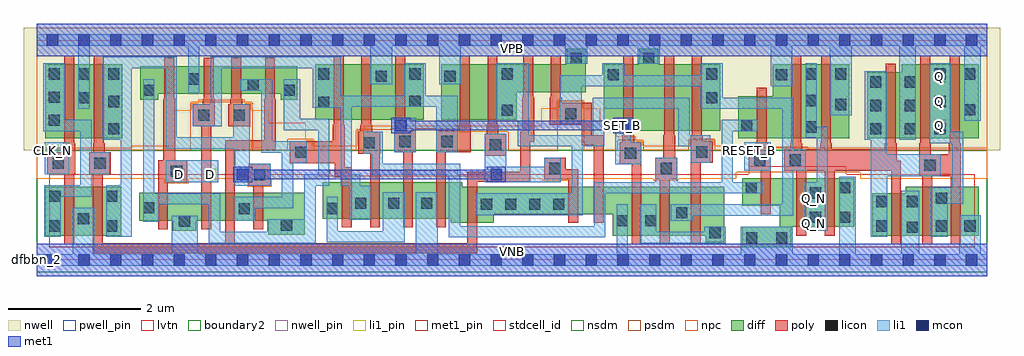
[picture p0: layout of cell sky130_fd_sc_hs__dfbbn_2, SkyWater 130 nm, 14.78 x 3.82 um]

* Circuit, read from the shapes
.subckt sky130_fd_sc_hs__dfbbn_2 CLK_N D Q Q_N RESET_B SET_B VGND VNB VPB VPWR
XM1 VGND CLK_N n1 VNB sky130_fd_pr__nfet_01v8_lvt w=0.74 l=0.15
XM2 n2 n1 VGND VNB sky130_fd_pr__nfet_01v8_lvt w=0.74 l=0.15
XM3 VGND D n3 VNB sky130_fd_pr__nfet_01v8_lvt w=0.42 l=0.15
XM4 n4 n5 VGND VNB sky130_fd_pr__nfet_01v8_lvt w=0.42 l=0.15
XM5 n6 n1 n4 VNB sky130_fd_pr__nfet_01v8_lvt w=0.42 l=0.15
XM6 n3 n2 n6 VNB sky130_fd_pr__nfet_01v8_lvt w=0.42 l=0.15
XM7 n5 n6 n7 VNB sky130_fd_pr__nfet_01v8_lvt w=0.55 l=0.15
XM8 n7 n8 n5 VNB sky130_fd_pr__nfet_01v8_lvt w=0.55 l=0.15
XM9 VGND SET_B n7 VNB sky130_fd_pr__nfet_01v8_lvt w=0.55 l=0.15
XM10 n9 n5 VGND VNB sky130_fd_pr__nfet_01v8_lvt w=0.55 l=0.15
XM11 n10 n1 n9 VNB sky130_fd_pr__nfet_01v8_lvt w=0.55 l=0.15
XM12 n11 n2 n10 VNB sky130_fd_pr__nfet_01v8_lvt w=0.42 l=0.15
XM13 VGND n12 n11 VNB sky130_fd_pr__nfet_01v8_lvt w=0.42 l=0.15
XM14 n13 SET_B VGND VNB sky130_fd_pr__nfet_01v8_lvt w=0.74 l=0.15
XM15 n12 n8 n13 VNB sky130_fd_pr__nfet_01v8_lvt w=0.74 l=0.15
XM16 n13 n10 n12 VNB sky130_fd_pr__nfet_01v8_lvt w=0.74 l=0.15
XM17 VGND RESET_B n8 VNB sky130_fd_pr__nfet_01v8_lvt w=0.42 l=0.15
XM18 Q_N n12 VGND VNB sky130_fd_pr__nfet_01v8_lvt w=0.74 l=0.15 m=2
XM19 VGND n12 n14 VNB sky130_fd_pr__nfet_01v8_lvt w=0.64 l=0.15
XM20 Q n14 VGND VNB sky130_fd_pr__nfet_01v8_lvt w=0.74 l=0.15 m=2
XM21 VPWR CLK_N n1 VPB sky130_fd_pr__pfet_01v8 w=1.12 l=0.15
XM22 n2 n1 VPWR VPB sky130_fd_pr__pfet_01v8 w=1.12 l=0.15
XM23 VPWR D n3 VPB sky130_fd_pr__pfet_01v8 w=0.42 l=0.15
XM24 n15 n5 VPWR VPB sky130_fd_pr__pfet_01v8 w=0.42 l=0.15
XM25 n6 n2 n15 VPB sky130_fd_pr__pfet_01v8 w=0.42 l=0.15
XM26 n3 n1 n6 VPB sky130_fd_pr__pfet_01v8 w=0.42 l=0.15
XM27 n16 n6 n5 VPB sky130_fd_pr__pfet_01v8 w=0.84 l=0.15
XM28 VPWR n8 n16 VPB sky130_fd_pr__pfet_01v8 w=0.84 l=0.15
XM29 n5 SET_B VPWR VPB sky130_fd_pr__pfet_01v8 w=0.84 l=0.15
XM30 n17 n5 VPWR VPB sky130_fd_pr__pfet_01v8 w=0.84 l=0.15
XM31 n10 n2 n17 VPB sky130_fd_pr__pfet_01v8 w=0.84 l=0.15
XM32 n18 n1 n10 VPB sky130_fd_pr__pfet_01v8 w=0.42 l=0.15
XM33 VPWR n12 n18 VPB sky130_fd_pr__pfet_01v8 w=0.42 l=0.15
XM34 VPWR SET_B n12 VPB sky130_fd_pr__pfet_01v8 w=1 l=0.15
XM35 n19 n8 VPWR VPB sky130_fd_pr__pfet_01v8 w=1 l=0.15
XM36 n12 n10 n19 VPB sky130_fd_pr__pfet_01v8 w=1 l=0.15
XM37 VPWR RESET_B n8 VPB sky130_fd_pr__pfet_01v8 w=0.64 l=0.15
XM38 Q_N n12 VPWR VPB sky130_fd_pr__pfet_01v8 w=1.12 l=0.15 m=2
XM39 VPWR n12 n14 VPB sky130_fd_pr__pfet_01v8 w=1 l=0.15
XM40 Q n14 VPWR VPB sky130_fd_pr__pfet_01v8 w=1.12 l=0.15 m=2
.ends

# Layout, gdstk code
import gdstk
lib = gdstk.Library(unit=1e-6, precision=1e-09)
def R(c, l, rs):  # rectangles x0, y0, x1, y1
    for r in rs: c.add(gdstk.rectangle(r[:2], r[2:], *l))
def A(c, l, x, y, w, h, nx, ny, dx, dy):  # array of equal rectangles
    R(c, l, [(x+i*dx, y+j*dy, x+i*dx+w, y+j*dy+h) for i in range(nx) for j in range(ny)])
def P(c, l, *ps):  # polygons
    for p in ps: c.add(gdstk.Polygon(p, *l))
nwell_pin = (64, 16)
nwell = (64, 20)
diff = (65, 20)
poly = (66, 20)
licon = (66, 44)
li1_pin = (67, 16)
li1 = (67, 20)
mcon = (67, 44)
met1_pin = (68, 16)
met1 = (68, 20)
stdcell_id = (81, 4)
nsdm = (93, 44)
psdm = (94, 20)
npc = (95, 20)
pwell_pin = (122, 16)
lvtn = (125, 44)
boundary2 = (236, 0)

sky130_fd_sc_hs__dfbbn_2 = lib.new_cell('sky130_fd_sc_hs__dfbbn_2')
R(sky130_fd_sc_hs__dfbbn_2, nwell_pin, [(0,3.085,14.4,3.33)])
R(sky130_fd_sc_hs__dfbbn_2, nwell, [(-0.19,1.66,14.59,3.52)])
R(sky130_fd_sc_hs__dfbbn_2, diff, [(0.135,0.37,1.285,1.11), (0.135,1.84,1.3,2.96), (4.22,2.12,5.86,2.96)])
P(sky130_fd_sc_hs__dfbbn_2, diff, [(3.95,2.935),(1.57,2.935),(1.57,2.425),(1.845,2.425),(1.845,2.515),(3.7,2.515),(3.7,2.425),(3.95,2.425)],
  [(4.065,1.015),(1.555,1.015),(1.555,0.595),(2.065,0.595),(2.065,0.44),(2.42,0.44),(2.42,0.595),(3.51,0.595),(3.51,0.385),(4.065,0.385)],
  [(8.32,3.195),(8.03,3.195),(8.03,2.96),(6.13,2.96),(6.13,2.12),(7.275,2.12),(7.275,2.54),(8.32,2.54)],
  [(10.355,2.96),(9.415,2.96),(9.415,3.195),(9.125,3.195),(9.125,2.96),(8.59,2.96),(8.59,1.96),(10.355,1.96)],
  [(10.415,1.11),(6.45,1.11),(6.45,1.175),(4.335,1.175),(4.335,0.625),(6.275,0.625),(6.275,0.56),(6.925,0.56),(6.925,0.69),(8.725,0.69),(8.725,0.37),(10.135,0.37),(10.135,0.27),(10.415,0.27)],
  [(12.31,2.96),(11.145,2.96),(11.145,2.48),(10.625,2.48),(10.625,1.84),(12.31,1.84)],
  [(12.385,1.24),(10.685,1.24),(10.685,0.82),(11.255,0.82),(11.255,0.5),(10.685,0.5),(10.685,0.19),(11.43,0.19),(11.43,0.5),(12.385,0.5)],
  [(14.265,2.96),(13.1,2.96),(13.1,2.84),(12.58,2.84),(12.58,1.84),(14.265,1.84)],
  [(14.265,1.11),(13.165,1.11),(13.165,1.01),(12.655,1.01),(12.655,0.37),(14.265,0.37)])
P(sky130_fd_sc_hs__dfbbn_2, poly, [(13.995,1.765),(13.98,1.765),(13.98,3.09),(13.83,3.09),(13.83,1.765),(13.815,1.765),(13.815,1.6),(13.545,1.6),(13.545,1.765),(13.53,1.765),(13.53,3.09),(13.38,3.09),(13.38,1.765),(13.365,1.765),(13.365,1.27),(13.415,1.27),(13.415,0.24),(13.565,0.24),(13.565,1.27),(13.845,1.27),(13.845,0.24),(13.995,0.24)],
  [(13.09,1.5),(13.025,1.5),(13.025,1.765),(13.01,1.765),(13.01,2.97),(12.86,2.97),(12.86,1.765),(12.845,1.765),(12.845,1.68),(12.045,1.68),(12.045,1.765),(12.03,1.765),(12.03,3.09),(11.88,3.09),(11.88,1.765),(11.865,1.765),(11.865,1.68),(11.595,1.68),(11.595,1.765),(11.58,1.765),(11.58,3.09),(11.43,3.09),(11.43,1.765),(11.415,1.765),(11.415,1.68),(11.325,1.68),(11.325,1.35),(11.505,1.35),(11.505,0.37),(11.655,0.37),(11.655,1.35),(11.935,1.35),(11.935,0.37),(12.085,0.37),(12.085,1.35),(12.94,1.35),(12.94,0.24),(13.09,0.24)],
  [(11.115,1.68),(11.07,1.68),(11.07,1.765),(11.055,1.765),(11.055,2.61),(10.905,2.61),(10.905,1.765),(10.89,1.765),(10.89,1.68),(10.785,1.68),(10.785,1.35),(10.965,1.35),(10.965,0.69),(11.115,0.69)],
  [(10.24,1.8),(10.09,1.8),(10.09,1.885),(10.075,1.885),(10.075,3.09),(9.925,3.09),(9.925,1.885),(9.91,1.885),(9.91,0.24),(10.06,0.24),(10.06,1.47),(10.24,1.47)],
  [(9.7,1.55),(9.67,1.55),(9.67,1.885),(9.655,1.885),(9.655,3.09),(9.505,3.09),(9.505,1.885),(9.49,1.885),(9.49,1.55),(9.37,1.55),(9.37,1.22),(9.44,1.22),(9.44,0.24),(9.59,0.24),(9.59,1.22),(9.7,1.22)],
  [(9.16,1.78),(9.05,1.78),(9.05,1.885),(9.035,1.885),(9.035,3.09),(8.885,3.09),(8.885,1.885),(8.87,1.885),(8.87,1.78),(8.83,1.78),(8.83,1.45),(9.01,1.45),(9.01,0.24),(9.16,0.24)],
  [(8.59,1.885),(8.405,1.885),(8.405,2.38),(7.955,2.38),(7.955,2.465),(7.94,2.465),(7.94,3.09),(7.79,3.09),(7.79,2.465),(7.775,2.465),(7.775,2.05),(8.255,2.05),(8.255,1.735),(8.44,1.735),(8.44,0.56),(8.59,0.56)],
  [(8.2,1.37),(8.015,1.37),(8.015,1.55),(7.685,1.55),(7.685,1.22),(8.05,1.22),(8.05,0.56),(8.2,0.56)],
  [(7.535,2.465),(7.52,2.465),(7.52,3.09),(7.37,3.09),(7.37,2.465),(7.355,2.465),(7.355,1.94),(7.325,1.94),(7.325,1.335),(6.525,1.335),(6.525,0.255),(3.005,0.255),(3.005,1.665),(3.625,1.665),(3.625,2.44),(3.61,2.44),(3.61,3.065),(3.46,3.065),(3.46,2.44),(3.445,2.44),(3.445,1.815),(2.855,1.815),(2.855,0.255),(1,0.255),(1,1.3),(1.125,1.3),(1.125,1.63),(1.035,1.63),(1.035,1.765),(1.02,1.765),(1.02,3.09),(0.87,3.09),(0.87,1.765),(0.855,1.765),(0.855,1.63),(0.795,1.63),(0.795,1.3),(0.85,1.3),(0.85,0.105),(6.675,0.105),(6.675,1.185),(7.475,1.185),(7.475,1.79),(7.535,1.79)],
  [(7.115,1.91),(6.995,1.91),(6.995,2.045),(6.98,2.045),(6.98,3.09),(6.83,3.09),(6.83,2.045),(6.815,2.045),(6.815,1.91),(6.785,1.91),(6.785,1.58),(7.115,1.58)],
  [(6.575,2.045),(6.56,2.045),(6.56,3.09),(6.41,3.09),(6.41,2.045),(6.395,2.045),(6.395,1.96),(6.05,1.96),(6.05,0.495),(6.2,0.495),(6.2,1.63),(6.575,1.63)],
  [(5.745,1.96),(5.595,1.96),(5.595,2.045),(5.58,2.045),(5.58,3.09),(5.43,3.09),(5.43,2.045),(5.415,2.045),(5.415,1.63),(5.55,1.63),(5.55,0.495),(5.7,0.495),(5.7,1.63),(5.745,1.63)],
  [(5.205,1.94),(5.085,1.94),(5.085,2.045),(5.07,2.045),(5.07,3.09),(4.92,3.09),(4.92,2.045),(4.905,2.045),(4.905,1.94),(4.875,1.94),(4.875,1.61),(5.05,1.61),(5.05,0.495),(5.2,0.495),(5.2,1.61),(5.205,1.61)],
  [(4.77,1.4),(4.665,1.4),(4.665,2.045),(4.65,2.045),(4.65,3.09),(4.5,3.09),(4.5,2.045),(4.485,2.045),(4.485,1.795),(3.835,1.795),(3.835,1.465),(4.515,1.465),(4.515,1.25),(4.62,1.25),(4.62,0.495),(4.77,0.495)],
  [(3.545,1.455),(3.215,1.455),(3.215,1.125),(3.285,1.125),(3.285,0.465),(3.435,0.465),(3.435,1.125),(3.545,1.125)],
  [(3.235,2.355),(3.115,2.355),(3.115,2.44),(3.1,2.44),(3.1,3.065),(2.95,3.065),(2.95,2.44),(2.935,2.44),(2.935,2.355),(2.905,2.355),(2.905,2.025),(3.235,2.025)],
  [(2.695,2.44),(2.68,2.44),(2.68,3.065),(2.53,3.065),(2.53,2.44),(2.515,2.44),(2.515,2.355),(2.365,2.355),(2.365,2.025),(2.495,2.025),(2.495,0.465),(2.645,0.465),(2.645,2.025),(2.695,2.025)],
  [(2.285,1.51),(2.1,1.51),(2.1,2.44),(2.085,2.44),(2.085,3.065),(1.935,3.065),(1.935,2.44),(1.92,2.44),(1.92,1.51),(1.84,1.51),(1.84,0.465),(1.99,0.465),(1.99,1.18),(2.285,1.18)],
  [(0.585,1.765),(0.57,1.765),(0.57,3.09),(0.42,3.09),(0.42,1.765),(0.405,1.765),(0.405,1.63),(0.165,1.63),(0.165,1.3),(0.42,1.3),(0.42,0.24),(0.57,0.24),(0.57,1.3),(0.585,1.3)])
A(sky130_fd_sc_hs__dfbbn_2, licon, 6.73, 0.76, 0.17, 0.17, 4, 1, 0.365, 0)
A(sky130_fd_sc_hs__dfbbn_2, licon, 4.825, 0.775, 0.17, 0.17, 3, 1, 0.5, 0)
A(sky130_fd_sc_hs__dfbbn_2, licon, 12.625, 1.9, 0.17, 0.17, 1, 3, 0, 0.355)
A(sky130_fd_sc_hs__dfbbn_2, licon, 13.145, 1.9, 0.17, 0.17, 1, 3, 0, 0.355)
A(sky130_fd_sc_hs__dfbbn_2, licon, 13.595, 1.9, 0.17, 0.17, 1, 3, 0, 0.415)
A(sky130_fd_sc_hs__dfbbn_2, licon, 11.645, 1.93, 0.17, 0.17, 1, 3, 0, 0.4)
A(sky130_fd_sc_hs__dfbbn_2, licon, 0.185, 2.73, 0.17, 0.17, 3, 1, 0.45, 0)
R(sky130_fd_sc_hs__dfbbn_2, licon, [(10.745,0.25,10.915,0.42), (11.2,0.25,11.37,0.42), (10.19,0.33,10.36,0.5), (13.175,0.41,13.345,0.58), (0.195,0.43,0.365,0.6), (1.055,0.43,1.225,0.6), (12.715,0.43,12.885,0.6), (13.62,0.43,13.79,0.6), (14.05,0.43,14.22,0.6), (3.7,0.445,3.87,0.615), (2.155,0.5,2.325,0.67), (8.785,0.51,8.955,0.68), (9.215,0.51,9.385,0.68), (0.625,0.54,0.795,0.71), (11.71,0.56,11.88,0.73), (12.155,0.56,12.325,0.73), (9.685,0.63,9.855,0.8), (3.06,0.69,3.23,0.86), (4.395,0.695,4.565,0.865), (1.615,0.705,1.785,0.875), (12.715,0.8,12.885,0.97), (13.175,0.8,13.345,0.97), (13.62,0.85,13.79,1.02), (0.195,0.88,0.365,1.05), (1.055,0.88,1.225,1.05), (11.71,0.93,11.88,1.1), (10.74,1.01,10.91,1.18), (12.155,1.01,12.325,1.18), (3.295,1.205,3.465,1.375), (2.035,1.26,2.205,1.43), (7.765,1.3,7.935,1.47), (9.45,1.3,9.62,1.47), (13.445,1.35,13.615,1.52), (0.245,1.38,0.415,1.55), (0.875,1.38,1.045,1.55), (10.865,1.43,11.035,1.6), (11.405,1.43,11.575,1.6), (8.91,1.53,9.08,1.7), (3.915,1.545,4.085,1.715), (9.99,1.55,10.16,1.72), (6.865,1.66,7.035,1.83), (4.955,1.69,5.125,1.86), (5.495,1.71,5.665,1.88), (6.13,1.71,6.3,1.88), (1.085,1.9,1.255,2.07), (10.67,1.95,10.84,2.12), (0.185,2.03,0.355,2.2), (2.445,2.105,2.615,2.275), (2.985,2.105,3.155,2.275), (8.005,2.13,8.175,2.3), (7.045,2.18,7.215,2.35), (14.045,2.19,14.215,2.36), (12.095,2.27,12.265,2.44), (4.265,2.305,4.435,2.475), (1.085,2.315,1.255,2.485), (5.645,2.32,5.815,2.49), (0.635,2.37,0.805,2.54), (10.14,2.37,10.31,2.54), (0.185,2.38,0.355,2.55), (1.615,2.485,1.785,2.655), (3.74,2.485,3.91,2.655), (3.195,2.565,3.365,2.735), (2.295,2.655,2.465,2.825), (5.135,2.695,5.305,2.865), (6.175,2.695,6.345,2.865), (8.65,2.72,8.82,2.89), (11.195,2.72,11.365,2.89), (4.265,2.73,4.435,2.9), (5.645,2.73,5.815,2.9), (7.045,2.73,7.215,2.9), (10.14,2.73,10.31,2.9), (12.095,2.73,12.265,2.9), (14.045,2.73,14.215,2.9), (8.09,2.97,8.26,3.14), (9.185,2.97,9.355,3.14)])
A(sky130_fd_sc_hs__dfbbn_2, li1_pin, 13.595, 1.95, 0.17, 0.17, 1, 3, 0, 0.37)
R(sky130_fd_sc_hs__dfbbn_2, li1_pin, [(11.675,0.47,11.845,0.64), (11.675,0.84,11.845,1.01), (2.075,1.21,2.245,1.38), (2.555,1.21,2.725,1.38), (0.155,1.58,0.325,1.75), (10.715,1.58,10.885,1.75)])
R(sky130_fd_sc_hs__dfbbn_2, li1, [(1.955,1.18,2.755,1.51), (0.125,1.3,0.495,1.78), (10.715,1.35,11.115,1.78), (5.415,1.63,5.745,2.15)])
P(sky130_fd_sc_hs__dfbbn_2, li1, [(8.01,2.97),(8.01,3.245),(6.425,3.245),(6.425,2.66),(6.095,2.66),(6.095,3.245),(5.385,3.245),(5.385,2.66),(5.055,2.66),(5.055,3.245),(2.465,3.245),(2.465,2.525),(2.295,2.525),(2.295,3.245),(0.805,3.245),(0.805,2.29),(0.635,2.29),(0.635,3.245),(0,3.245),(0,3.415),(14.4,3.415),(14.4,3.245),(14.295,3.245),(14.295,2.11),(14.045,2.11),(14.045,3.245),(13.315,3.245),(13.315,1.82),(13.065,1.82),(13.065,3.245),(12.345,3.245),(12.345,2.19),(12.015,2.19),(12.015,3.245),(11.445,3.245),(11.445,2.63),(11.115,2.63),(11.115,3.245),(9.435,3.245),(9.435,2.97),(9.105,2.97),(9.105,3.245),(8.34,3.245),(8.34,2.97)],
  [(0.545,0.085),(0.545,0.79),(0.875,0.79),(0.875,0.085),(2.045,0.085),(2.045,0.67),(2.44,0.67),(2.44,0.085),(5.745,0.085),(5.745,1.025),(6.075,1.025),(6.075,0.085),(8.785,0.085),(8.785,0.84),(8.955,0.84),(8.955,0.085),(10.665,0.085),(10.665,0.5),(11.45,0.5),(11.45,0.085),(12.155,0.085),(12.155,1.26),(12.405,1.26),(12.405,0.085),(13.095,0.085),(13.095,1.05),(13.37,1.05),(13.37,0.085),(13.97,0.085),(13.97,0.68),(14.3,0.68),(14.3,0.085),(14.4,0.085),(14.4,-0.085),(0,-0.085),(0,0.085)],
  [(12.875,1.6),(13.695,1.6),(13.695,1.27),(12.885,1.27),(12.885,0.35),(12.635,0.35),(12.635,1.82),(12.545,1.82),(12.545,2.86),(12.875,2.86)],
  [(8.995,1.78),(9.16,1.78),(9.16,1.45),(8.765,1.45),(8.765,2.12),(8.995,2.12)],
  [(3.005,1.125),(3.005,1.685),(1.955,1.685),(1.955,2.905),(1.445,2.905),(1.445,0.35),(1.055,0.35),(1.055,1.13),(1.275,1.13),(1.275,1.82),(1.005,1.82),(1.005,3.075),(2.125,3.075),(2.125,1.855),(2.975,1.855),(2.975,2.355),(3.23,2.355),(3.23,1.455),(3.545,1.455),(3.545,1.125)],
  [(4.055,1.295),(4.265,1.295),(4.265,1.965),(3.74,1.965),(3.74,2.735),(3.99,2.735),(3.99,2.135),(4.435,2.135),(4.435,1.125),(4.225,1.125),(4.225,0.255),(2.61,0.255),(2.61,0.84),(1.865,0.84),(1.865,0.575),(1.615,0.575),(1.615,2.735),(1.785,2.735),(1.785,1.01),(2.78,1.01),(2.78,0.425),(3.49,0.425),(3.49,0.615),(4.055,0.615)],
  [(3.4,1.625),(3.4,2.565),(3.085,2.565),(3.085,2.735),(3.57,2.735),(3.57,1.795),(4.095,1.795),(4.095,1.465),(3.885,1.465),(3.885,0.785),(3.31,0.785),(3.31,0.595),(2.98,0.595),(2.98,0.955),(3.715,0.955),(3.715,1.625)],
  [(0.835,0.96),(0.365,0.96),(0.365,0.35),(0.115,0.35),(0.115,1.13),(0.665,1.13),(0.665,1.95),(0.105,1.95),(0.105,2.98),(0.435,2.98),(0.435,2.12),(0.835,2.12),(0.835,1.63),(1.105,1.63),(1.105,1.3),(0.835,1.3)],
  [(6.785,1.18),(6.785,1.91),(7.115,1.91),(7.115,1.41),(7.685,1.41),(7.685,1.55),(7.935,1.55),(7.935,1.18)],
  [(8.445,1.18),(9.37,1.18),(9.37,1.55),(9.7,1.55),(9.7,1.18),(10.375,1.18),(10.375,2.12),(10.92,2.12),(10.92,1.95),(10.545,1.95),(10.545,1.18),(10.99,1.18),(10.99,1.01),(8.615,1.01),(8.615,0.34),(6.245,0.34),(6.245,1.29),(5.075,1.29),(5.075,1.61),(4.945,1.61),(4.945,1.94),(5.245,1.94),(5.245,1.46),(6.415,1.46),(6.415,0.51),(8.445,0.51)],
  [(7.285,1.72),(7.285,2.1),(6.965,2.1),(6.965,2.98),(7.455,2.98),(7.455,1.89),(8.425,1.89),(8.425,2.46),(9.89,2.46),(9.89,1.89),(10.205,1.89),(10.205,1.47),(9.91,1.47),(9.91,1.72),(9.72,1.72),(9.72,2.29),(8.595,2.29),(8.595,1.72),(8.275,1.72),(8.275,0.68),(6.65,0.68),(6.65,1.01),(8.105,1.01),(8.105,1.72)],
  [(7.925,2.8),(8.57,2.8),(8.57,2.98),(8.9,2.98),(8.9,2.8),(10.06,2.8),(10.06,2.98),(10.39,2.98),(10.39,2.46),(11.46,2.46),(11.46,1.68),(11.645,1.68),(11.645,1.35),(11.46,1.35),(11.46,0.67),(9.935,0.67),(9.935,0.595),(9.605,0.595),(9.605,0.84),(11.29,0.84),(11.29,2.29),(10.06,2.29),(10.06,2.63),(8.255,2.63),(8.255,2.06),(7.925,2.06)],
  [(4.605,1.125),(4.605,2.305),(4.185,2.305),(4.185,2.905),(2.805,2.905),(2.805,2.025),(2.365,2.025),(2.365,2.355),(2.635,2.355),(2.635,3.075),(4.605,3.075),(4.605,2.49),(5.565,2.49),(5.565,2.98),(5.895,2.98),(5.895,2.49),(6.38,2.49),(6.38,1.63),(6.05,1.63),(6.05,2.32),(4.775,2.32),(4.775,1.295),(4.905,1.295),(4.905,1.12),(5.075,1.12),(5.075,0.605),(4.735,0.605),(4.735,1.125)],
  [(9.135,0.255),(9.135,0.84),(9.385,0.84),(9.385,0.425),(10.11,0.425),(10.11,0.5),(10.44,0.5),(10.44,0.255)],
  [(5.245,0.435),(5.245,1.025),(5.575,1.025),(5.575,0.265),(4.395,0.265),(4.395,0.955),(4.565,0.955),(4.565,0.435)],
  [(14.035,1.94),(13.845,1.94),(13.845,2.98),(13.515,2.98),(13.515,1.77),(13.865,1.77),(13.865,1.1),(13.54,1.1),(13.54,0.35),(13.8,0.35),(13.8,0.85),(14.035,0.85)],
  [(11.815,1.18),(11.815,1.85),(11.645,1.85),(11.645,2.98),(11.815,2.98),(11.815,2.02),(11.985,2.02),(11.985,0.44),(11.63,0.44),(11.63,1.18)])
A(sky130_fd_sc_hs__dfbbn_2, mcon, 0.155, -0.085, 0.17, 0.17, 30, 2, 0.48, 3.33)
R(sky130_fd_sc_hs__dfbbn_2, mcon, [(3.035,1.21,3.205,1.38), (6.875,1.21,7.045,1.38), (5.435,1.95,5.605,2.12), (8.795,1.95,8.965,2.12)])
R(sky130_fd_sc_hs__dfbbn_2, met1_pin, [(0,0,14.4,0.245), (8.795,1.95,8.965,2.12), (0,3.085,14.4,3.33)])
R(sky130_fd_sc_hs__dfbbn_2, met1, [(0,-0.245,14.4,0.245), (0,3.085,14.4,3.575)])
P(sky130_fd_sc_hs__dfbbn_2, met1, [(3.265,1.365),(6.815,1.365),(6.815,1.41),(7.105,1.41),(7.105,1.18),(6.815,1.18),(6.815,1.225),(3.265,1.225),(3.265,1.18),(2.975,1.18),(2.975,1.41),(3.265,1.41)],
  [(8.735,1.92),(8.735,1.965),(5.665,1.965),(5.665,1.92),(5.375,1.92),(5.375,2.15),(5.665,2.15),(5.665,2.105),(8.735,2.105),(8.735,2.15),(9.025,2.15),(9.025,1.92)])
R(sky130_fd_sc_hs__dfbbn_2, stdcell_id, [(0,0,14.4,3.33)])
R(sky130_fd_sc_hs__dfbbn_2, nsdm, [(0,-0.19,14.4,1.66)])
P(sky130_fd_sc_hs__dfbbn_2, psdm, [(14.4,3.52),(0,3.52),(0,1.66),(2.335,1.66),(2.335,2.385),(3.265,2.385),(3.265,1.66),(3.805,1.66),(3.805,1.825),(4.195,1.825),(4.195,1.66),(4.845,1.66),(4.845,1.97),(5.385,1.97),(5.385,1.99),(6.41,1.99),(6.41,1.94),(7.145,1.94),(7.145,1.66),(7.895,1.66),(7.895,2.41),(8.285,2.41),(8.285,1.66),(8.8,1.66),(8.8,1.81),(9.19,1.81),(9.19,1.66),(9.88,1.66),(9.88,1.83),(10.27,1.83),(10.27,1.66),(10.755,1.66),(10.755,1.71),(11.685,1.71),(11.685,1.66),(14.4,1.66)])
P(sky130_fd_sc_hs__dfbbn_2, npc, [(14.4,1.7),(10.485,1.7),(10.485,1.73),(10.26,1.73),(10.26,1.82),(9.89,1.82),(9.89,1.73),(9.18,1.73),(9.18,1.8),(9.075,1.8),(9.075,1.87),(8.78,1.87),(8.78,2.065),(8.54,2.065),(8.54,2.295),(8.275,2.295),(8.275,2.4),(7.905,2.4),(7.905,2.295),(7.64,2.295),(7.64,2.03),(4.96,2.03),(4.96,1.96),(4.855,1.96),(4.855,1.73),(4.185,1.73),(4.185,1.815),(4.08,1.815),(4.08,2.08),(3.52,2.08),(3.52,2.27),(3.255,2.27),(3.255,2.375),(3.15,2.375),(3.15,2.425),(2.45,2.425),(2.45,2.375),(2.345,2.375),(2.345,2.27),(2.08,2.27),(2.08,1.73),(1.44,1.73),(1.44,1.7),(0,1.7),(0,1.23),(1.935,1.23),(1.935,1.16),(2.305,1.16),(2.305,1.23),(3.195,1.23),(3.195,1.105),(3.565,1.105),(3.565,1.23),(4.245,1.23),(4.245,1.265),(6.54,1.265),(6.54,1.23),(7.665,1.23),(7.665,1.2),(8.035,1.2),(8.035,1.23),(9.35,1.23),(9.35,1.2),(9.72,1.2),(9.72,1.23),(10.595,1.23),(10.595,1.33),(12.475,1.33),(12.475,1.23),(14.4,1.23)])
R(sky130_fd_sc_hs__dfbbn_2, pwell_pin, [(0,0,14.4,0.245)])
P(sky130_fd_sc_hs__dfbbn_2, lvtn, [(14.21,1.3),(12.265,1.3),(12.265,1.42),(10.785,1.42),(10.785,1.3),(6.38,1.3),(6.38,1.355),(4.44,1.355),(4.44,1.3),(0.19,1.3),(0.19,0.19),(14.21,0.19)])
R(sky130_fd_sc_hs__dfbbn_2, boundary2, [(0,0,14.4,3.33)])
sky130_fd_sc_hs__dfbbn_2.add(gdstk.Label('dfbbn_2', (0,0), layer=83, texttype=44))
sky130_fd_sc_hs__dfbbn_2.add(gdstk.Label('VNB', (7.2,0.123), layer=64, texttype=59))
sky130_fd_sc_hs__dfbbn_2.add(gdstk.Label('VPB', (7.2,3.208), layer=64, texttype=5))
sky130_fd_sc_hs__dfbbn_2.add(gdstk.Label('SET_B', (8.88,2.035), layer=68, texttype=5))
sky130_fd_sc_hs__dfbbn_2.add(gdstk.Label('VPWR', (7.2,3.208), layer=68, texttype=5))
sky130_fd_sc_hs__dfbbn_2.add(gdstk.Label('VGND', (7.2,0.123), layer=68, texttype=5))
sky130_fd_sc_hs__dfbbn_2.add(gdstk.Label('RESET_B', (10.8,1.665), layer=67, texttype=5))
sky130_fd_sc_hs__dfbbn_2.add(gdstk.Label('D', (2.16,1.295), layer=67, texttype=5))
sky130_fd_sc_hs__dfbbn_2.add(gdstk.Label('D', (2.64,1.295), layer=67, texttype=5))
sky130_fd_sc_hs__dfbbn_2.add(gdstk.Label('CLK_N', (0.24,1.665), layer=67, texttype=5))
sky130_fd_sc_hs__dfbbn_2.add(gdstk.Label('Q_N', (11.76,0.555), layer=67, texttype=5))
sky130_fd_sc_hs__dfbbn_2.add(gdstk.Label('Q_N', (11.76,0.925), layer=67, texttype=5))
sky130_fd_sc_hs__dfbbn_2.add(gdstk.Label('Q', (13.68,2.035), layer=67, texttype=5))
sky130_fd_sc_hs__dfbbn_2.add(gdstk.Label('Q', (13.68,2.405), layer=67, texttype=5))
sky130_fd_sc_hs__dfbbn_2.add(gdstk.Label('Q', (13.68,2.775), layer=67, texttype=5))

lib.write_gds('sky130_fd_sc_hs__dfbbn_2.gds')
